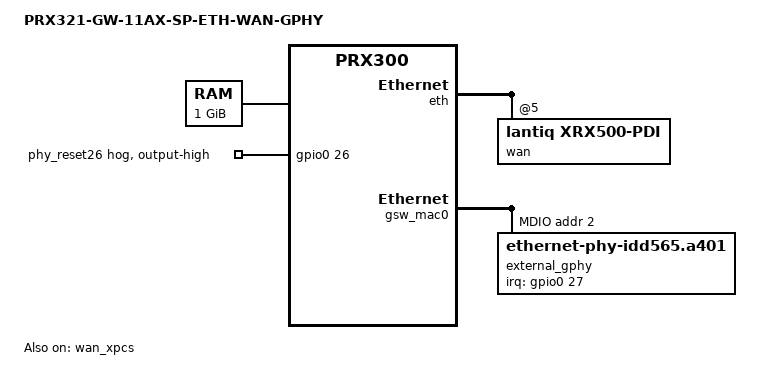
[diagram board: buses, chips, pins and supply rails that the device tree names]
/dts-v1/;
#include "prx321-gw-11ax-sp.dtsi"

/* Model configuration */
/ {
	model = "PRX321-GW-11AX-SP-ETH-WAN-GPHY";
	compatible = "intel,prx321-gw-11ax-sp-eth-wan-gphy", "intel,prx300";

	chosen {
		stdout-path = "serial0";
	};

	memory@0 {
		device_type = "memory";
		reg = <0x20000000 0x40000000>; /* 1024 MB */
	};
};

&eth {
	wan: interface@5 {
		compatible = "lantiq,xrx500-pdi";
		#address-cells = <1>;
		#size-cells = <0>;
		reg = <5>;
		lantiq,wan = <1>;
		intel,dp-dev-port = <2>;
		intel,dp-port-id = <2>;
		mac = <&gsw_mac0>;

		ethernet@5 {
			compatible = "lantiq,xrx500-pdi-port";
			reg = <1>;
			phy-mode = "rgmii";
			phy-handle = <&external_gphy>;
		};
	};
};

&wan_xpcs {
	status = "okay";
	xpcs-conn = <1>; /* PHY */
};

/* mdio pins for external gphy */
&gsw_mac0 {
	pinctrl-names = "default";
	pinctrl-0 = <&pinctrl_mdio1>;
	mdio {
		#address-cells = <1>;
		#size-cells = <0>;
		external_gphy: ethernet-phy@2 {
			compatible = "ethernet-phy-idd565.a401",
				     "ethernet-phy-ieee802.3-c22";
			reg = <0x2>;
			interrupts = <27 IRQ_TYPE_LEVEL_HIGH>;
			interrupt-parent = <&gpio0>;
		};
	};
};

&gpio0 {
	/* external GPHY reset */
	phy_reset26 {
		gpio-hog;
		gpios = <26 GPIO_ACTIVE_HIGH>;
		output-high;
		line-name = "phy_reset26";
	};
};
